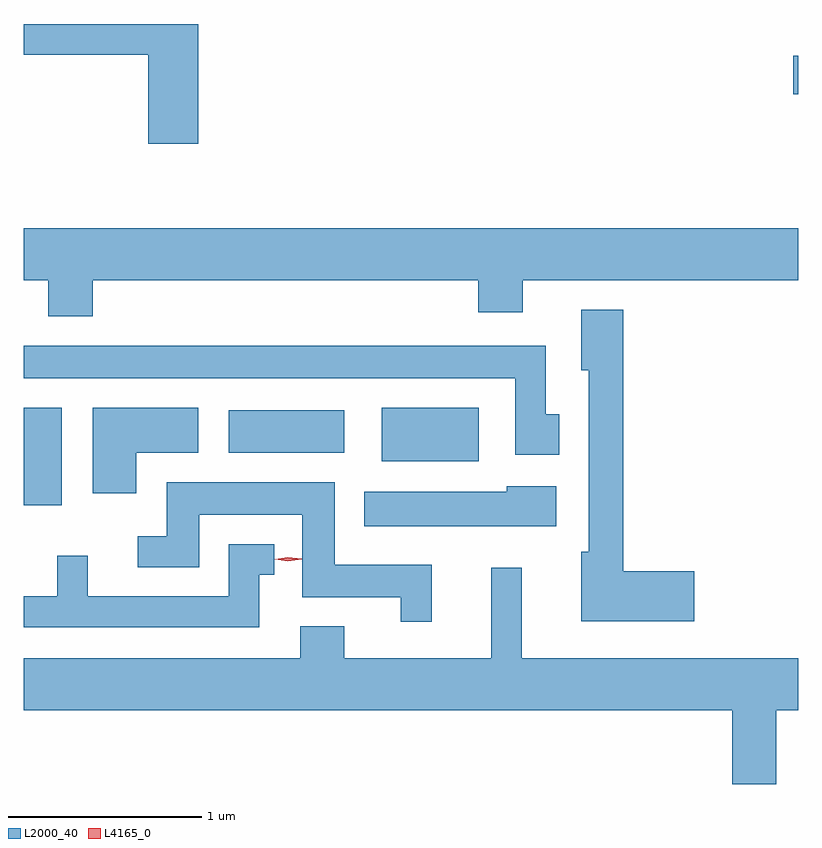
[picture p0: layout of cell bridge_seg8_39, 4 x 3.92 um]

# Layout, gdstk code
import gdstk
lib = gdstk.Library(unit=1e-6, precision=1e-09)
def R(c, l, rs):  # rectangles x0, y0, x1, y1
    for r in rs: c.add(gdstk.rectangle(r[:2], r[2:], *l))
def P(c, l, *ps):  # polygons
    for p in ps: c.add(gdstk.Polygon(p, *l))
L2000_40 = (2000, 40)
L4165_0 = (4165, 0)

bridge_seg8_39 = lib.new_cell('bridge_seg8_39')
R(bridge_seg8_39, L2000_40, [(1619.143,1879.656,1619.339,1880.159), (1620.991,1879.881,1621.494,1880.159), (1620.201,1879.926,1620.799,1880.144), (1623.116,1881.776,1623.143,1881.974)])
P(bridge_seg8_39, L2000_40, [(1620.044,1882.139),(1619.143,1882.139),(1619.143,1881.981),(1619.786,1881.981),(1619.786,1881.521),(1620.044,1881.521)],
  [(1619.499,1880.816),(1621.491,1880.816),(1621.491,1880.651),(1621.719,1880.651),(1621.719,1880.816),(1623.143,1880.816),(1623.143,1881.084),(1619.143,1881.084),(1619.143,1880.816),(1619.271,1880.816),(1619.271,1880.631),(1619.499,1880.631)],
  [(1622.604,1879.314),(1622.239,1879.314),(1622.239,1880.664),(1622.021,1880.664),(1622.021,1880.351),(1622.061,1880.351),(1622.061,1879.414),(1622.021,1879.414),(1622.021,1879.056),(1622.604,1879.056)],
  [(1621.909,1880.124),(1621.839,1880.124),(1621.839,1880.479),(1619.143,1880.479),(1619.143,1880.311),(1621.681,1880.311),(1621.681,1879.916),(1621.909,1879.916)],
  [(1619.724,1879.926),(1620.044,1879.926),(1620.044,1880.159),(1619.501,1880.159),(1619.501,1879.716),(1619.724,1879.716)],
  [(1621.249,1879.349),(1620.749,1879.349),(1620.749,1879.774),(1619.881,1879.774),(1619.881,1879.494),(1619.733,1879.494),(1619.733,1879.336),(1620.049,1879.336),(1620.049,1879.606),(1620.581,1879.606),(1620.581,1879.181),(1621.091,1879.181),(1621.091,1879.053),(1621.249,1879.053)],
  [(1621.894,1879.754),(1621.636,1879.754),(1621.636,1879.724),(1620.901,1879.724),(1620.901,1879.546),(1621.894,1879.546)],
  [(1620.359,1879.296),(1620.438,1879.296),(1620.438,1879.454),(1620.201,1879.454),(1620.201,1879.184),(1619.474,1879.184),(1619.474,1879.393),(1619.316,1879.393),(1619.316,1879.184),(1619.143,1879.184),(1619.143,1879.026),(1620.359,1879.026)],
  [(1623.029,1878.596),(1623.143,1878.596),(1623.143,1878.864),(1621.714,1878.864),(1621.714,1879.333),(1621.556,1879.333),(1621.556,1878.864),(1620.799,1878.864),(1620.799,1879.029),(1620.571,1879.029),(1620.571,1878.864),(1619.143,1878.864),(1619.143,1878.596),(1622.801,1878.596),(1622.801,1878.216),(1623.029,1878.216)])
P(bridge_seg8_39, L4165_0, [(1620.508,1879.367),(1620.439,1879.376),(1620.439,1879.376),(1620.439,1879.377),(1620.508,1879.387),(1620.578,1879.378),(1620.578,1879.377),(1620.578,1879.377)])

lib.write_gds('bridge_seg8_39.gds')
